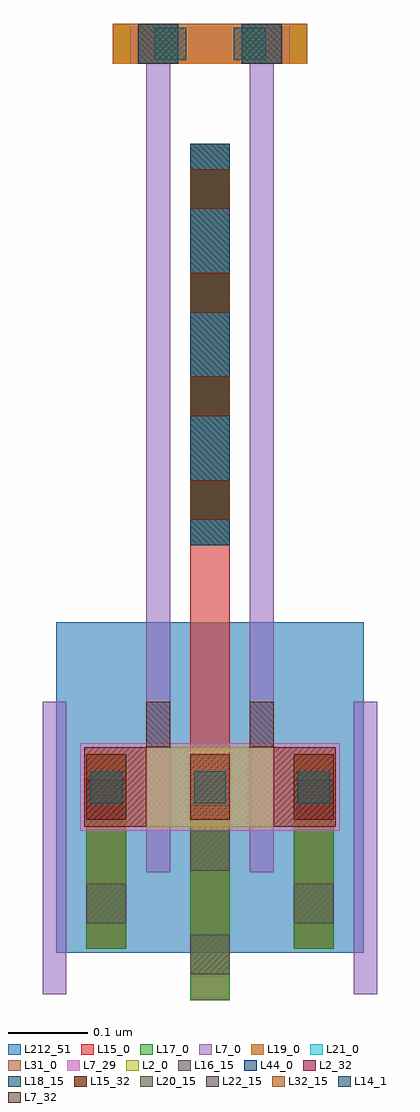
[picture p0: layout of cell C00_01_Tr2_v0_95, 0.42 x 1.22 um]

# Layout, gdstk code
import gdstk
lib = gdstk.Library(unit=1e-6, precision=1e-09)
def R(c, l, rs):  # rectangles x0, y0, x1, y1
    for r in rs: c.add(gdstk.rectangle(r[:2], r[2:], *l))
def A(c, l, x, y, w, h, nx, ny, dx, dy):  # array of equal rectangles
    R(c, l, [(x+i*dx, y+j*dy, x+i*dx+w, y+j*dy+h) for i in range(nx) for j in range(ny)])
L2_0 = (2, 0)
L2_32 = (2, 32)
L7_0 = (7, 0)
L7_29 = (7, 29)
L7_32 = (7, 32)
L14_1 = (14, 1)
L15_0 = (15, 0)
L15_32 = (15, 32)
L16_15 = (16, 15)
L17_0 = (17, 0)
L18_15 = (18, 15)
L19_0 = (19, 0)
L20_15 = (20, 15)
L21_0 = (21, 0)
L22_15 = (22, 15)
L31_0 = (31, 0)
L32_15 = (32, 15)
L44_0 = (44, 0)
L212_51 = (212, 51)

c00_01_tr2_v0_95_srf_nmo = lib.new_cell('C00_01_Tr2_v0_95:SRF_Nmos:SRF_Source_ViaM1M2:SRF_ViaM1M2')
R(c00_01_tr2_v0_95_srf_nmo, L15_0, [(0,-0.162,0.05,0.082)])
R(c00_01_tr2_v0_95_srf_nmo, L16_15, [(0,-0.13,0.05,-0.08), (0,0,0.05,0.05)])
R(c00_01_tr2_v0_95_srf_nmo, L17_0, [(0,-0.162,0.05,0.082)])

c_c00_01_tr2_v0_95_srf_nmo = lib.new_cell('C00_01_Tr2_v0_95:SRF_Nmos:SRF_Source_ViaM1M2')
c_c00_01_tr2_v0_95_srf_nmo.add(gdstk.Reference(c00_01_tr2_v0_95_srf_nmo, (-0.025,0.04)))

c_c00_01_tr2_v0_95_srf_nmo_ = lib.new_cell('C00_01_Tr2_v0_95:SRF_Nmos:SRF_Drain_ViaM1M2:SRF_ViaM1M2')
R(c_c00_01_tr2_v0_95_srf_nmo_, L15_0, [(0,-0.162,0.05,0.082)])
R(c_c00_01_tr2_v0_95_srf_nmo_, L16_15, [(0,-0.13,0.05,-0.08), (0,0,0.05,0.05)])
R(c_c00_01_tr2_v0_95_srf_nmo_, L17_0, [(0,-0.162,0.05,0.082)])

c_c00_01_tr2_v0_95_srf_nmo__ = lib.new_cell('C00_01_Tr2_v0_95:SRF_Nmos:SRF_Drain_ViaM1M2')
c_c00_01_tr2_v0_95_srf_nmo__.add(gdstk.Reference(c_c00_01_tr2_v0_95_srf_nmo_, (-0.025,0.04)))

c_c00_01_tr2_v0_95_srf_nmo___ = lib.new_cell('C00_01_Tr2_v0_95:SRF_Nmos')
R(c_c00_01_tr2_v0_95_srf_nmo___, L2_0, [(-0.078,0.057,0.238,0.157)])
R(c_c00_01_tr2_v0_95_srf_nmo___, L2_32, [(-0.078,0.057,0,0.157), (0.16,0.057,0.238,0.157)])
R(c_c00_01_tr2_v0_95_srf_nmo___, L7_0, [(-0.13,-0.153,-0.1,0.214), (0.26,-0.153,0.29,0.214), (0,0,0.03,0.214), (0.13,0,0.16,0.214)])
R(c_c00_01_tr2_v0_95_srf_nmo___, L7_29, [(-0.083,0.052,0.243,0.162)])
R(c_c00_01_tr2_v0_95_srf_nmo___, L7_32, [(0,0.157,0.03,0.214), (0.13,0.157,0.16,0.214)])
A(c_c00_01_tr2_v0_95_srf_nmo___, L14_1, -0.07, 0.087, 0.04, 0.04, 3, 1, 0.13, 0)
R(c_c00_01_tr2_v0_95_srf_nmo___, L15_0, [(-0.075,0.066,-0.025,0.148), (-0.075,0.066,-0.025,0.148), (0.055,0.066,0.105,0.148), (0.055,0.066,0.105,0.148), (0.185,0.066,0.235,0.148), (0.185,0.066,0.235,0.148)])
A(c_c00_01_tr2_v0_95_srf_nmo___, L15_32, -0.075, 0.066, 0.05, 0.082, 3, 1, 0.13, 0)
R(c_c00_01_tr2_v0_95_srf_nmo___, L212_51, [(-0.113,-0.101,0.273,0.314)])
c_c00_01_tr2_v0_95_srf_nmo___.add(gdstk.Reference(c_c00_01_tr2_v0_95_srf_nmo, (-0.05,0.026)))
c_c00_01_tr2_v0_95_srf_nmo___.add(gdstk.Reference(c_c00_01_tr2_v0_95_srf_nmo, (0.21,0.026)))
c_c00_01_tr2_v0_95_srf_nmo___.add(gdstk.Reference(c_c00_01_tr2_v0_95_srf_nmo__, (0.08,-0.038)))

c00_01_tr2_v0_95_srf_tr2 = lib.new_cell('C00_01_Tr2_v0_95:SRF_Tr2_Drain_ViaM1Mx:SRF_ViaM1M2')
R(c00_01_tr2_v0_95_srf_tr2, L15_0, [(0,-0.422,0.05,0.082)])
A(c00_01_tr2_v0_95_srf_tr2, L16_15, 0, -0.39, 0.05, 0.05, 1, 4, 0, 0.13)
R(c00_01_tr2_v0_95_srf_tr2, L17_0, [(0,-0.422,0.05,0.082)])

c_c00_01_tr2_v0_95_srf_tr2 = lib.new_cell('C00_01_Tr2_v0_95:SRF_Tr2_Drain_ViaM1Mx:SRF_ViaM2M3')
R(c_c00_01_tr2_v0_95_srf_tr2, L17_0, [(0,-0.422,0.05,0.082)])
A(c_c00_01_tr2_v0_95_srf_tr2, L18_15, 0, -0.39, 0.05, 0.05, 1, 4, 0, 0.13)
R(c_c00_01_tr2_v0_95_srf_tr2, L19_0, [(0,-0.422,0.05,0.082)])

c_c00_01_tr2_v0_95_srf_tr2_ = lib.new_cell('C00_01_Tr2_v0_95:SRF_Tr2_Drain_ViaM1Mx:SRF_ViaM3M4')
R(c_c00_01_tr2_v0_95_srf_tr2_, L19_0, [(0,-0.422,0.05,0.082)])
A(c_c00_01_tr2_v0_95_srf_tr2_, L20_15, 0, -0.39, 0.05, 0.05, 1, 4, 0, 0.13)
R(c_c00_01_tr2_v0_95_srf_tr2_, L21_0, [(0,-0.422,0.05,0.082)])

c_c00_01_tr2_v0_95_srf_tr2__ = lib.new_cell('C00_01_Tr2_v0_95:SRF_Tr2_Drain_ViaM1Mx:SRF_ViaM4M5')
R(c_c00_01_tr2_v0_95_srf_tr2__, L21_0, [(0,-0.422,0.05,0.082)])
A(c_c00_01_tr2_v0_95_srf_tr2__, L22_15, 0, -0.39, 0.05, 0.05, 1, 4, 0, 0.13)
R(c_c00_01_tr2_v0_95_srf_tr2__, L31_0, [(0,-0.422,0.05,0.082)])

c_c00_01_tr2_v0_95_srf_tr2___ = lib.new_cell('C00_01_Tr2_v0_95:SRF_Tr2_Drain_ViaM1Mx:SRF_ViaM5M6')
R(c_c00_01_tr2_v0_95_srf_tr2___, L31_0, [(0,-0.422,0.05,0.082)])
A(c_c00_01_tr2_v0_95_srf_tr2___, L32_15, 0, -0.39, 0.05, 0.05, 1, 4, 0, 0.13)
R(c_c00_01_tr2_v0_95_srf_tr2___, L44_0, [(0,-0.422,0.05,0.082)])

c_c00_01_tr2_v0_95_srf_tr2____ = lib.new_cell('C00_01_Tr2_v0_95:SRF_Tr2_Drain_ViaM1Mx')
c_c00_01_tr2_v0_95_srf_tr2____.add(gdstk.Reference(c00_01_tr2_v0_95_srf_tr2, (-0.025,0.17)))
c_c00_01_tr2_v0_95_srf_tr2____.add(gdstk.Reference(c_c00_01_tr2_v0_95_srf_tr2, (-0.025,0.17)))
c_c00_01_tr2_v0_95_srf_tr2____.add(gdstk.Reference(c_c00_01_tr2_v0_95_srf_tr2_, (-0.025,0.17)))
c_c00_01_tr2_v0_95_srf_tr2____.add(gdstk.Reference(c_c00_01_tr2_v0_95_srf_tr2__, (-0.025,0.17)))
c_c00_01_tr2_v0_95_srf_tr2____.add(gdstk.Reference(c_c00_01_tr2_v0_95_srf_tr2___, (-0.025,0.17)))

c00_01_tr2_v0_95_srf_gat = lib.new_cell('C00_01_Tr2_v0_95:SRF_Gate_ViaM0M3:SRF_ViaM0M1')
R(c00_01_tr2_v0_95_srf_gat, L7_0, [(-0.01,-0.004,0.15,0.044)])
R(c00_01_tr2_v0_95_srf_gat, L14_1, [(0,0,0.04,0.04), (0.1,0,0.14,0.04)])
R(c00_01_tr2_v0_95_srf_gat, L15_0, [(-0.021,-0.005,0.161,0.045)])

c_c00_01_tr2_v0_95_srf_gat = lib.new_cell('C00_01_Tr2_v0_95:SRF_Gate_ViaM0M3:SRF_ViaM1M2')
R(c_c00_01_tr2_v0_95_srf_gat, L15_0, [(-0.032,0,0.212,0.05)])
R(c_c00_01_tr2_v0_95_srf_gat, L16_15, [(0,0,0.05,0.05), (0.13,0,0.18,0.05)])
R(c_c00_01_tr2_v0_95_srf_gat, L17_0, [(-0.032,0,0.212,0.05)])

c_c00_01_tr2_v0_95_srf_gat_ = lib.new_cell('C00_01_Tr2_v0_95:SRF_Gate_ViaM0M3:SRF_ViaM2M3')
R(c_c00_01_tr2_v0_95_srf_gat_, L17_0, [(-0.032,0,0.212,0.05)])
R(c_c00_01_tr2_v0_95_srf_gat_, L18_15, [(0,0,0.05,0.05), (0.13,0,0.18,0.05)])
R(c_c00_01_tr2_v0_95_srf_gat_, L19_0, [(-0.032,0,0.212,0.05)])

c_c00_01_tr2_v0_95_srf_gat__ = lib.new_cell('C00_01_Tr2_v0_95:SRF_Gate_ViaM0M3')
c_c00_01_tr2_v0_95_srf_gat__.add(gdstk.Reference(c00_01_tr2_v0_95_srf_gat, (-0.07,-0.02)))
c_c00_01_tr2_v0_95_srf_gat__.add(gdstk.Reference(c_c00_01_tr2_v0_95_srf_gat, (-0.09,-0.025)))
c_c00_01_tr2_v0_95_srf_gat__.add(gdstk.Reference(c_c00_01_tr2_v0_95_srf_gat_, (-0.09,-0.025)))

c00_01_tr2_v0_95 = lib.new_cell('C00_01_Tr2_v0_95')
R(c00_01_tr2_v0_95, L7_0, [(0,0.214,0.03,1.014), (0.13,0.214,0.16,1.014), (-0.02,1.014,0.18,1.064)])
R(c00_01_tr2_v0_95, L15_0, [(0.055,0.148,0.105,0.914)])
R(c00_01_tr2_v0_95, L19_0, [(-0.02,1.014,0.18,1.064)])
c00_01_tr2_v0_95.add(gdstk.Reference(c_c00_01_tr2_v0_95_srf_nmo___, (0,0)))
c00_01_tr2_v0_95.add(gdstk.Reference(c_c00_01_tr2_v0_95_srf_tr2____, (0.08,0.662)))
c00_01_tr2_v0_95.add(gdstk.Reference(c_c00_01_tr2_v0_95_srf_gat__, (0.08,1.039)))

lib.write_gds('C00_01_Tr2_v0_95.gds')
